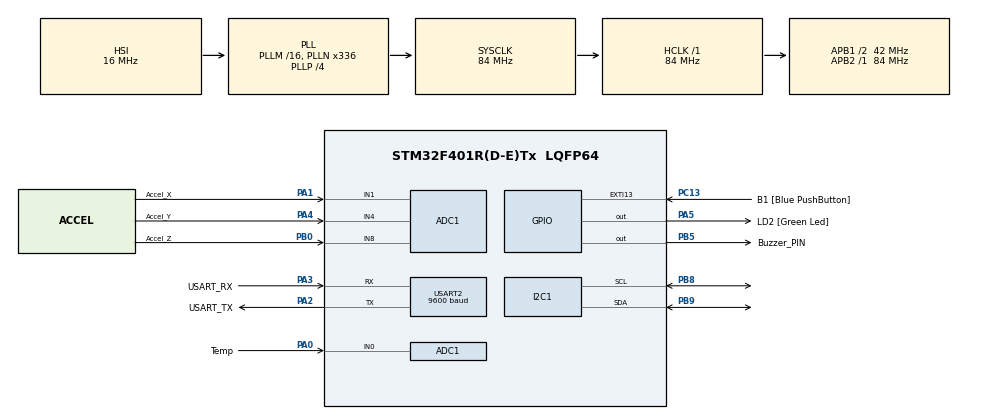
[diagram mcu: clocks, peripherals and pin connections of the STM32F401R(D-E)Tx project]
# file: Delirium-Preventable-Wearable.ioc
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ADC1.Channel-0\#ChannelRegularConversion=ADC_CHANNEL_0
ADC1.Channel-1\#ChannelRegularConversion=ADC_CHANNEL_1
ADC1.Channel-2\#ChannelRegularConversion=ADC_CHANNEL_4
ADC1.Channel-3\#ChannelRegularConversion=ADC_CHANNEL_8
ADC1.ContinuousConvMode=ENABLE
ADC1.DMAContinuousRequests=ENABLE
ADC1.NbrOfConversion=4
ADC1.NbrOfConversionFlag=1
ADC1.Rank-0\#ChannelRegularConversion=1
ADC1.Rank-1\#ChannelRegularConversion=2
ADC1.Rank-2\#ChannelRegularConversion=3
ADC1.Rank-3\#ChannelRegularConversion=4
ADC1.SamplingTime-0\#ChannelRegularConversion=ADC_SAMPLETIME_3CYCLES
ADC1.SamplingTime-1\#ChannelRegularConversion=ADC_SAMPLETIME_3CYCLES
ADC1.SamplingTime-2\#ChannelRegularConversion=ADC_SAMPLETIME_3CYCLES
ADC1.SamplingTime-3\#ChannelRegularConversion=ADC_SAMPLETIME_3CYCLES
ADC1.ScanConvMode=ENABLE
ADC1.master=1
Dma.ADC1.0.Direction=DMA_PERIPH_TO_MEMORY
Dma.ADC1.0.FIFOMode=DMA_FIFOMODE_DISABLE
Dma.ADC1.0.Instance=DMA2_Stream0
Dma.ADC1.0.MemDataAlignment=DMA_MDATAALIGN_HALFWORD
Dma.ADC1.0.MemInc=DMA_MINC_ENABLE
Dma.ADC1.0.Mode=DMA_CIRCULAR
Dma.ADC1.0.PeriphDataAlignment=DMA_PDATAALIGN_HALFWORD
Dma.ADC1.0.PeriphInc=DMA_PINC_DISABLE
Dma.ADC1.0.Priority=DMA_PRIORITY_LOW
Dma.Request0=ADC1
Mcu.Family=STM32F4
Mcu.Name=STM32F401R(D-E)Tx
Mcu.Package=LQFP64
NVIC.DMA2_Stream0_IRQn=true\:5\:0\:true\:false\:true\:false\:true\:true
NVIC.PriorityGroup=NVIC_PRIORITYGROUP_4
NVIC.USART2_IRQn=true\:5\:0\:true\:false\:true\:true\:true\:true
PA0-WKUP.GPIO_Label=Temp
PA0-WKUP.Signal=ADCx_IN0
PA1.GPIO_Label=Accel_X
PA1.Signal=ADCx_IN1
PA13.GPIO_Label=TMS
PA13.Mode=Trace_Asynchronous_SW
PA13.Signal=SYS_JTMS-SWDIO
PA14.GPIO_Label=TCK
PA14.Mode=Trace_Asynchronous_SW
PA14.Signal=SYS_JTCK-SWCLK
PA2.GPIO_Label=USART_TX
PA2.GPIO_Mode=GPIO_MODE_AF_PP
PA2.GPIO_PuPd=GPIO_NOPULL
PA2.GPIO_Speed=GPIO_SPEED_FREQ_LOW
PA2.Mode=Asynchronous
PA2.Signal=USART2_TX
PA3.GPIO_Label=USART_RX
PA3.GPIO_Mode=GPIO_MODE_AF_PP
PA3.GPIO_PuPd=GPIO_NOPULL
PA3.GPIO_Speed=GPIO_SPEED_FREQ_LOW
PA3.Mode=Asynchronous
PA3.Signal=USART2_RX
PA4.GPIO_Label=Accel_Y
PA4.Signal=ADCx_IN4
PA5.GPIO_Label=LD2 [Green Led]
PA5.GPIO_Mode=GPIO_MODE_OUTPUT_PP
PA5.GPIO_PuPd=GPIO_NOPULL
PA5.GPIO_Speed=GPIO_SPEED_FREQ_LOW
PA5.Signal=GPIO_Output
PB0.GPIO_Label=Accel_Z
PB0.Signal=ADCx_IN8
PB3.GPIO_Label=SWO
PB3.Mode=Trace_Asynchronous_SW
PB3.Signal=SYS_JTDO-SWO
PB5.GPIO_Label=Buzzer_PIN
PB5.Signal=GPIO_Output
PB8.Mode=I2C
PB8.Signal=I2C1_SCL
PB9.Mode=I2C
PB9.Signal=I2C1_SDA
PC13-ANTI_TAMP.GPIO_Label=B1 [Blue PushButton]
PC13-ANTI_TAMP.GPIO_ModeDefaultEXTI=GPIO_MODE_IT_FALLING
PC13-ANTI_TAMP.GPIO_PuPd=GPIO_NOPULL
PC13-ANTI_TAMP.Signal=GPXTI13
PC14-OSC32_IN.Mode=LSE-External-Oscillator
PC14-OSC32_IN.Signal=RCC_OSC32_IN
PC15-OSC32_OUT.Mode=LSE-External-Oscillator
PC15-OSC32_OUT.Signal=RCC_OSC32_OUT
PH0\ -\ OSC_IN.Mode=HSE-External-Clock-Source
PH0\ -\ OSC_IN.Signal=RCC_OSC_IN
PH1\ -\ OSC_OUT.Mode=HSE-External-Clock-Source
PH1\ -\ OSC_OUT.Signal=RCC_OSC_OUT
ProjectManager.HeapSize=0x200
ProjectManager.StackSize=0x400
ProjectManager.TargetToolchain=STM32CubeIDE
RCC.48MHZClocksFreq_Value=48000000
RCC.AHBFreq_Value=84000000
RCC.APB1CLKDivider=RCC_HCLK_DIV2
RCC.APB1Freq_Value=42000000
RCC.APB1TimFreq_Value=84000000
RCC.APB2Freq_Value=84000000
RCC.APB2TimFreq_Value=84000000
RCC.CortexFreq_Value=84000000
RCC.HCLKFreq_Value=84000000
RCC.HSE_VALUE=8000000
RCC.HSI_VALUE=16000000
RCC.PLLN=336
RCC.PLLP=RCC_PLLP_DIV4
RCC.PLLQ=7
RCC.SYSCLKFreq_VALUE=84000000
RCC.SYSCLKSource=RCC_SYSCLKSOURCE_PLLCLK
RCC.VCOOutputFreq_Value=336000000
SH.ADCx_IN0.0=ADC1_IN0,IN0
SH.ADCx_IN1.0=ADC1_IN1,IN1
SH.ADCx_IN4.0=ADC1_IN4,IN4
SH.ADCx_IN8.0=ADC1_IN8,IN8
USART2.BaudRate=9600
USART2.VirtualMode=VM_ASYNC
board=NUCLEO-F401RE

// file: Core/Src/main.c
#include "main.h"
#include "adc.h"
#include "dma.h"
#include "gpio.h"
#include "i2c.h"
#include "i2c-lcd.h"
#include "usart.h"

#include <math.h>
#include <stdio.h>
#include <string.h>
/* USER CODE END Includes */

/* USER CODE BEGIN PD */
#define B_CONST 4275.0f
#define R0_CONST 100000.0f
#define ADC_MAX 4095.0f
#define RX_BUF_SIZE 100
#define SENSOR_CHANNEL_COUNT 4U
#define SENSOR_SEND_INTERVAL_MS 100U
#define UART_TIMEOUT_MS 100U
#define LCD_COLUMNS 16U
#define ERROR_BLINK_DELAY_CYCLES 500000UL
/* USER CODE END PD */

/* USER CODE BEGIN PV */
uint16_t adc_buf[SENSOR_CHANNEL_COUNT];
char tx_buf[100];
uint8_t rx_char;
uint8_t rx_buf[RX_BUF_SIZE];
volatile int rx_idx = 0;
volatile uint8_t command_ready_flag = 0;
volatile uint8_t rx_overflow_flag = 0;
uint32_t lastSendTime = 0;
/* USER CODE END PV */

void SystemClock_Config(void);
/* USER CODE BEGIN PFP */
static void sendSensorData(void);
static void parseCommand(char *cmd);
static void sendUartString(const char *message);
static uint8_t clampRgbValue(int value);
static void showStartupScreen(void);
static void lcdSendLine(const char *text);
static void busyWait(volatile uint32_t cycles);
/* USER CODE END PFP */

int main(void)
{

  /* MCU Configuration--------------------------------------------------------*/

  /* Reset of all peripherals, Initializes the Flash interface and the Systick. */
  HAL_Init();

  /* Configure the system clock */
  SystemClock_Config();

  /* Initialize all configured peripherals */
  MX_GPIO_Init();
  MX_DMA_Init();
  MX_USART2_UART_Init();
  MX_ADC1_Init();
  MX_I2C1_Init();
  /* USER CODE BEGIN 2 */
  if (lcd_init(&hi2c1) != HAL_OK)
  {
	  Error_Handler();
  }
  showStartupScreen();

  if (HAL_ADC_Start_DMA(&hadc1, (uint32_t*)adc_buf, SENSOR_CHANNEL_COUNT) != HAL_OK)
  {
	  Error_Handler();
  }

  if (HAL_UART_Receive_IT(&huart2, &rx_char, 1) != HAL_OK)
  {
	  Error_Handler();
  }
  /* USER CODE END 2 */

  /* Infinite loop */
  while (1)
  {

    /* USER CODE BEGIN 3 */
	uint32_t now = HAL_GetTick();
	if (now - lastSendTime >= SENSOR_SEND_INTERVAL_MS)
	{
		lastSendTime = now;
		sendSensorData();
	}

	if (command_ready_flag)
	{
		parseCommand((char*)rx_buf);
		rx_idx = 0;
		memset(rx_buf, 0, RX_BUF_SIZE);
		command_ready_flag = 0;
	}
  }
  /* USER CODE END 3 */
}

void SystemClock_Config(void)
{
  RCC_OscInitTypeDef RCC_OscInitStruct = {0};
  RCC_ClkInitTypeDef RCC_ClkInitStruct = {0};

  /** Configure the main internal regulator output voltage
  */
  __HAL_RCC_PWR_CLK_ENABLE();
  __HAL_PWR_VOLTAGESCALING_CONFIG(PWR_REGULATOR_VOLTAGE_SCALE2);

  /** Initializes the RCC Oscillators according to the specified parameters
  * in the RCC_OscInitTypeDef structure.
  */
  RCC_OscInitStruct.OscillatorType = RCC_OSCILLATORTYPE_HSI;
  RCC_OscInitStruct.HSIState = RCC_HSI_ON;
  RCC_OscInitStruct.HSICalibrationValue = RCC_HSICALIBRATION_DEFAULT;
  RCC_OscInitStruct.PLL.PLLState = RCC_PLL_ON;
  RCC_OscInitStruct.PLL.PLLSource = RCC_PLLSOURCE_HSI;
  RCC_OscInitStruct.PLL.PLLM = 16;
  RCC_OscInitStruct.PLL.PLLN = 336;
  RCC_OscInitStruct.PLL.PLLP = RCC_PLLP_DIV4;
  RCC_OscInitStruct.PLL.PLLQ = 7;
  if (HAL_RCC_OscConfig(&RCC_OscInitStruct) != HAL_OK)
  {
    Error_Handler();
  }

  /** Initializes the CPU, AHB and APB buses clocks
  */
  RCC_ClkInitStruct.ClockType = RCC_CLOCKTYPE_HCLK|RCC_CLOCKTYPE_SYSCLK
                              |RCC_CLOCKTYPE_PCLK1|RCC_CLOCKTYPE_PCLK2;
  RCC_ClkInitStruct.SYSCLKSource = RCC_SYSCLKSOURCE_PLLCLK;
  RCC_ClkInitStruct.AHBCLKDivider = RCC_SYSCLK_DIV1;
  RCC_ClkInitStruct.APB1CLKDivider = RCC_HCLK_DIV2;
  RCC_ClkInitStruct.APB2CLKDivider = RCC_HCLK_DIV1;

  if (HAL_RCC_ClockConfig(&RCC_ClkInitStruct, FLASH_LATENCY_2) != HAL_OK)
  {
    Error_Handler();
  }
}

/* USER CODE BEGIN 4 */
static void sendSensorData(void)
{
	uint16_t temp_adc_val = adc_buf[0];
	uint16_t accel_x_val = adc_buf[1];
	uint16_t accel_y_val = adc_buf[2];
	uint16_t accel_z_val = adc_buf[3];

	float temp_C = -99.0;
	if (temp_adc_val > 0)
	{
		float R_thermistor = R0_CONST * (ADC_MAX / (float)temp_adc_val - 1.0f);
		float log_R = logf(R_thermistor / R0_CONST);
		float temp_K = 1.0f / (log_R / B_CONST + 1.0f / 298.15f);
		temp_C = temp_K - 273.15f;
	}

	/* Format the data string to match Arduino format: T:temp,X:x,Y:y,Z:z */
	int len = snprintf(tx_buf, sizeof(tx_buf), "T:%.1f,X:%u,Y:%u,Z:%u\n",
	                    temp_C,
	                    (unsigned int)accel_x_val,
	                    (unsigned int)accel_y_val,
	                    (unsigned int)accel_z_val);
	if (len > 0 && len < (int)sizeof(tx_buf))
	{
		HAL_UART_Transmit(&huart2, (uint8_t*)tx_buf, (uint16_t)len, UART_TIMEOUT_MS);
	}
}

/**
 * @brief Processes a command string from the Python backend.
 * @param cmd The null-terminated command string to parse.
 * @details Supports the following commands:
 *   - RGB:r,g,b - Set LCD backlight color
 *   - L:line1|line2 - Display text on LCD (line2 optional)
 */
static void parseCommand(char *cmd)
{
	/* Find the colon separator */
	char *commandValue = strchr(cmd, ':');
	if (commandValue == NULL)
	{
		sendUartString("ERR:Invalid format\n");
		return;
	}

	/* Split the string into commandType and commandValue */
	*commandValue = '\0';
	char *commandType = cmd;
	commandValue++; /* Move pointer to the start of the value */

	/* Handle RGB command */
	if (strcmp(commandType, "RGB") == 0)
	{
		int r, g, b;
		if (sscanf(commandValue, "%d,%d,%d", &r, &g, &b) == 3)
		{
			if (lcd_set_rgb(clampRgbValue(r), clampRgbValue(g), clampRgbValue(b)) == HAL_OK)
			{
				sendUartString("ACK:RGB\n");
			}
			else
			{
				sendUartString("ERR:RGB write failed\n");
			}
		}
		else
		{
			sendUartString("ERR:RGB parse failed\n");
		}
	}
	/* Handle LCD text display command */
	else if (strcmp(commandType, "L") == 0)
	{
		lcd_clear();
		char *line2 = strchr(commandValue, '|');

		if (line2 == NULL)
		{
			/* Only one line of text */
			lcd_set_cursor(0, 0);
			lcdSendLine(commandValue);
		}
		else
		{
			/* Two lines of text, split by '|' */
			*line2 = '\0'; /* Terminate the first line */
			char *line1 = commandValue;
			line2++; /* Move pointer to the start of the second line */

			lcd_set_cursor(0, 0);
			lcdSendLine(line1);
			lcd_set_cursor(0, 1);
			lcdSendLine(line2);
		}
		sendUartString("ACK:L\n");
	}
	else
	{
		sendUartString("ERR:Unknown command\n");
	}
}

static void sendUartString(const char *message)
{
	HAL_UART_Transmit(&huart2, (uint8_t*)message, (uint16_t)strlen(message), UART_TIMEOUT_MS);
}

static uint8_t clampRgbValue(int value)
{
	if (value < 0)
	{
		return 0;
	}
	if (value > 255)
	{
		return 255;
	}
	return (uint8_t)value;
}

static void showStartupScreen(void)
{
	(void)lcd_set_rgb(0, 100, 255);
	lcd_clear();
	lcd_set_cursor(0, 0);
	lcdSendLine("System Online!");
	lcd_set_cursor(0, 1);
	lcdSendLine("Waiting for PC...");
}

static void lcdSendLine(const char *text)
{
	uint8_t chars_written = 0;
	while (*text != '\0' && chars_written < LCD_COLUMNS)
	{
		if (lcd_send_data(*text++) != HAL_OK)
		{
			break;
		}
		chars_written++;
	}
}

static void busyWait(volatile uint32_t cycles)
{
	while (cycles-- > 0U)
	{
		__NOP();
	}
}

void HAL_UART_RxCpltCallback(UART_HandleTypeDef *huart)
{
	if (huart->Instance == USART2)
	{
		if (rx_char == '\n' || rx_char == '\r')
		{
			if (rx_idx > 0)
			{
				if (!rx_overflow_flag)
				{
					rx_buf[rx_idx] = '\0';
					command_ready_flag = 1;
				}
				else
				{
					rx_overflow_flag = 0;
					rx_idx = 0;
				}
			}
		}
		else
		{
			if (!command_ready_flag && !rx_overflow_flag && rx_idx < RX_BUF_SIZE - 1)
			{
				rx_buf[rx_idx++] = rx_char;
			}
			else if (!command_ready_flag)
			{
				rx_overflow_flag = 1;
			}
		}
		if (HAL_UART_Receive_IT(&huart2, &rx_char, 1) != HAL_OK)
		{
			Error_Handler();
		}
	}
}
/* USER CODE END 4 */

void Error_Handler(void)
{
  /* USER CODE BEGIN Error_Handler_Debug */
  /* User can add his own implementation to report the HAL error return state */
  __disable_irq();
  while (1)
  {
	  HAL_GPIO_TogglePin(LD2_GPIO_Port, LD2_Pin);
	  busyWait(ERROR_BLINK_DELAY_CYCLES);
  }
  /* USER CODE END Error_Handler_Debug */
}
